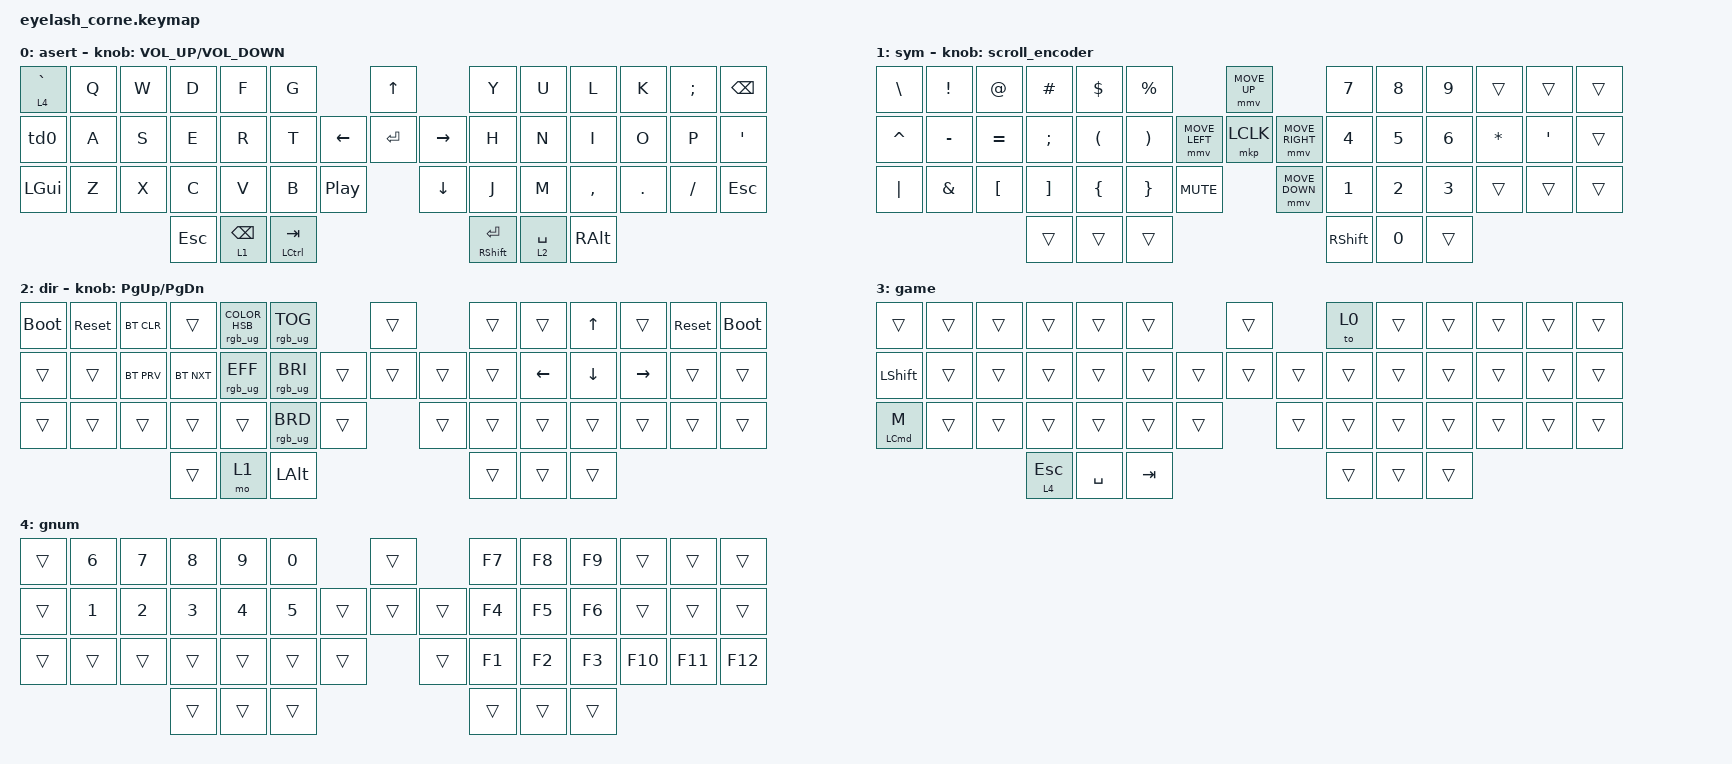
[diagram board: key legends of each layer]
#include <input/processors.dtsi>
#include <dt-bindings/zmk/mouse.h>
#include <behaviors.dtsi>
#include <dt-bindings/zmk/bt.h>
#include <dt-bindings/zmk/keys.h>
#include <dt-bindings/zmk/pointing.h>
#include <dt-bindings/zmk/rgb.h>

/*

   &mmv_input_listener {
       input-processors = <&zip_xy_scaler 2 1>;
   };

   &msc_input_listener {
       input-processors = <&zip_xy_scaler 2 1>;
   };

 */

#define ZMK_MOUSE_DEFAULT_MOVE_VAL 1200  // 600
#define ZMK_MOUSE_DEFAULT_SCRL_VAL 20    // 10

&lt { tapping-term-ms = <125>; };

&mt {
    tapping-term-ms = <125>;
    flavor = "tap-preferred";
};

/ {
    behaviors {
        td0: td0 {
            compatible = "zmk,behavior-tap-dance";
            display-name = "Shift/Caps Lock Tap Dance";
            #binding-cells = <0>;
            bindings = <&kp LEFT_SHIFT>, <&kp CAPS>;
        };
    };

    rgb_encoder: rgb_encoder {
        compatible = "zmk,behavior-sensor-rotate";
        #sensor-binding-cells = <0>;
        bindings = <&rgb_ug RGB_BRI>, <&rgb_ug RGB_BRD>;
    };

    scroll_encoder: scroll_encoder {
        compatible = "zmk,behavior-sensor-rotate";
        #sensor-binding-cells = <0>;
        bindings = <&msc SCRL_DOWN>, <&msc SCRL_UP>;

        tap-ms = <30>;
    };

    combos {
        compatible = "zmk,combos";

        gm {
            bindings = <&to 3>;
            key-positions = <5 37>;
        };
    };

    keymap {
        compatible = "zmk,keymap";

        default_layer {
            display-name = "asert";
            bindings = <
&lt 4 GRAVE  &kp Q  &kp W  &kp D    &kp F            &kp G                                        &kp UP                &kp Y                  &kp U        &kp L      &kp K    &kp SEMI  &kp BSPC
&td0         &kp A  &kp S  &kp E    &kp R            &kp T                              &kp LEFT  &kp ENTER  &kp RIGHT  &kp H                  &kp N        &kp I      &kp O    &kp P     &kp SQT
&kp LGUI     &kp Z  &kp X  &kp C    &kp V            &kp B          &kp C_PLAY_PAUSE              &kp DOWN              &kp J                  &kp M        &kp COMMA  &kp DOT  &kp FSLH  &kp ESC
                           &kp ESC  &lt 1 BACKSPACE  &mt LCTRL TAB                                                      &mt RIGHT_SHIFT ENTER  &lt 2 SPACE  &kp RALT
            >;

            sensor-bindings = <&inc_dec_kp C_VOLUME_UP C_VOLUME_DOWN>;
        };

        symbols {
            display-name = "sym";
            bindings = <
&kp BSLH   &kp EXCL   &kp AT     &kp HASH  &kp DOLLAR            &kp PERCENT                                          &mmv MOVE_UP                     &kp N7     &kp N8  &kp N9  &trans     &trans   &trans
&kp CARET  &kp MINUS  &kp EQUAL  &kp SEMI  &kp LEFT_PARENTHESIS  &kp RIGHT_PARENTHESIS                &mmv MOVE_LEFT  &mkp LCLK       &mmv MOVE_RIGHT  &kp N4     &kp N5  &kp N6  &kp ASTRK  &kp SQT  &trans
&kp PIPE   &kp AMPS   &kp LBKT   &kp RBKT  &kp LEFT_BRACE        &kp RIGHT_BRACE        &kp C_MUTE                    &mmv MOVE_DOWN                   &kp N1     &kp N2  &kp N3  &trans     &trans   &trans
                                 &trans    &trans                &trans                                                                                &kp RSHFT  &kp N0  &trans
            >;

            sensor-bindings = <&scroll_encoder>;
        };

        directions {
            bindings = <
&bootloader  &sys_reset  &bt BT_CLR  &trans      &rgb_ug RGB_COLOR_HSB(0,100,50)  &rgb_ug RGB_TOG                    &trans          &trans  &trans          &kp UP_ARROW  &trans     &sys_reset  &bootloader
&trans       &trans      &bt BT_PRV  &bt BT_NXT  &rgb_ug RGB_EFF                  &rgb_ug RGB_BRI            &trans  &trans  &trans  &trans  &kp LEFT_ARROW  &kp DOWN      &kp RIGHT  &trans      &trans
&trans       &trans      &trans      &trans      &trans                           &rgb_ug RGB_BRD  &trans            &trans          &trans  &trans          &trans        &trans     &trans      &trans
                                     &trans      &mo 1                            &kp LEFT_ALT                                       &trans  &trans          &trans
            >;

            label = "dir";
            sensor-bindings = <&inc_dec_kp PAGE_UP PAGE_DOWN>;
        };

        gm {
            bindings = <
&trans              &trans  &trans  &trans     &trans     &trans                     &trans          &to 0   &trans  &trans  &trans  &trans  &trans
&kp LEFT_SHIFT      &trans  &trans  &trans     &trans     &trans             &trans  &trans  &trans  &trans  &trans  &trans  &trans  &trans  &trans
&mt LEFT_COMMAND M  &trans  &trans  &trans     &trans     &trans   &trans            &trans          &trans  &trans  &trans  &trans  &trans  &trans
                                    &lt 4 ESC  &kp SPACE  &kp TAB                                    &trans  &trans  &trans
            >;

            label = "game";
        };

        gnum {
            bindings = <
&trans  &kp N6  &kp N7  &kp N8  &kp N9  &kp N0                    &trans          &kp F7  &kp F8  &kp F9  &trans   &trans   &trans
&trans  &kp N1  &kp N2  &kp N3  &kp N4  &kp N5            &trans  &trans  &trans  &kp F4  &kp F5  &kp F6  &trans   &trans   &trans
&trans  &trans  &trans  &trans  &trans  &trans  &trans            &trans          &kp F1  &kp F2  &kp F3  &kp F10  &kp F11  &kp F12
                        &trans  &trans  &trans                                    &trans  &trans  &trans
            >;

            label = "gnum";
        };
    };
};
